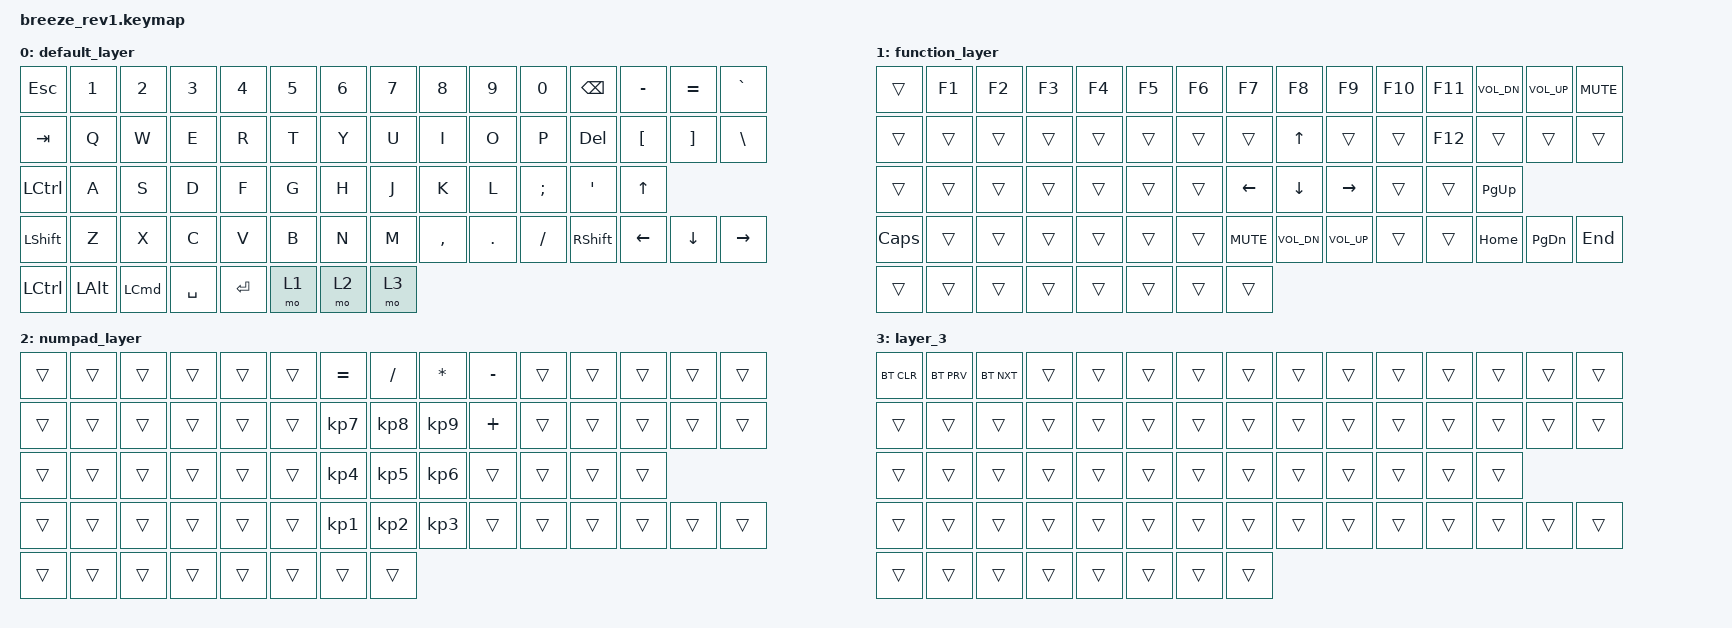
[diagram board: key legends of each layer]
/*
 * Copyright (c) 2022 The ZMK Contributors
 *
 * SPDX-License-Identifier: MIT
 */

#include <behaviors.dtsi>
#include <dt-bindings/zmk/bt.h>
#include <dt-bindings/zmk/keys.h>

/ {
    keymap {
        compatible = "zmk,keymap";

        default_layer {
            // Ref: https://zmkfirmware.dev/docs/codes/
            // ---  MAIN  -----------------------------------------------------------------------------------------------------------------------
            // |    ESC    |     1     |     2     |     3      |      4      |      5     |                           |      6      |      7     |      8      |      9     |     0    |    BSPC    | |    -/_    |     =/+     |    GRAVE    |
            // |    TAB    |     Q     |     W     |     E      |      R      |      T     |                           |      Y      |      U     |      I      |      O     |     P    |    DEL     | |     \     |      [      |      ]      |
            // |   LCTRL   |     A     |     S     |     D      |      F      |      G     |                           |      H      |      J     |      K      |      L     |     ;    |     '      | |           |      UP     |             |
            // |   SHIFT   |     Z     |     X     |     C      |      V      |      B     |                           |      N      |      M     |      ,      |      .     |     /    |   RSHIFT   | |     L     |      DN     |      R      |
            //                                     |   NUMPAD   |     LALT    |    LCMD    |   SPACE    |  |   ENTER   |   FUNCTION  |  MACOS APP |  MACOS LANG |

            bindings = <
&kp ESC    &kp N1    &kp N2    &kp N3     &kp N4   &kp N5  &kp N6  &kp N7  &kp N8     &kp N9   &kp N0    &kp BSPC    &kp MINUS  &kp EQUAL  &kp GRAVE
&kp TAB    &kp Q     &kp W     &kp E      &kp R    &kp T   &kp Y   &kp U   &kp I      &kp O    &kp P     &kp DEL     &kp LBKT   &kp RBKT   &kp BSLH
&kp LCTRL  &kp A     &kp S     &kp D      &kp F    &kp G   &kp H   &kp J   &kp K      &kp L    &kp SEMI  &kp APOS    &kp UP
&kp LSHFT  &kp Z     &kp X     &kp C      &kp V    &kp B   &kp N   &kp M   &kp COMMA  &kp DOT  &kp FSLH  &kp RSHIFT  &kp LEFT   &kp DOWN   &kp RIGHT
&kp LCTRL  &kp LALT  &kp LCMD  &kp SPACE  &kp RET  &mo 1   &mo 2   &mo 3
            >;
        };

        function_layer {
            // ---  FUNCTION  -------------------------------------------------------------------------------------------------------------------
            // | BT Clear  |  BT Prev  |  BT Next  |            |             |            |                           |             |            |             |            |          |            | |           |             |             |
            // |           |           |           |            |             |            |                           |             |            |     UP      |            |          |            | |           |             |             |
            // |           |           |           |            |             |            |                           |             |    LEFT    |    DOWN     |   RIGHT    |          |            | |           |             |             |
            // |           |           |           |            |             |            |                           |             |    MUTE    |  VOL DOWN   |   VOL UP   |          |            | |           |             |             |
            //                                     |            |             |            |            |  |           |             |            |             |

            bindings = <
&trans        &kp F1  &kp F2  &kp F3  &kp F4  &kp F5  &kp F6  &kp F7      &kp F8        &kp F9        &kp F10  &kp F11  &kp C_VOL_DN  &kp C_VOL_UP   &kp C_MUTE
&trans        &trans  &trans  &trans  &trans  &trans  &trans  &trans      &kp UP        &trans        &trans   &kp F12  &trans        &trans         &trans
&trans        &trans  &trans  &trans  &trans  &trans  &trans  &kp LEFT    &kp DOWN      &kp RIGHT     &trans   &trans   &kp PAGE_UP
&kp CAPSLOCK  &trans  &trans  &trans  &trans  &trans  &trans  &kp C_MUTE  &kp C_VOL_DN  &kp C_VOL_UP  &trans   &trans   &kp HOME      &kp PAGE_DOWN  &kp END
&trans        &trans  &trans  &trans  &trans  &trans  &trans  &trans
            >;
        };

        numpad_layer {
            // ---  NUMPAD  -------------------------------------------------------------------------------------------------------------------
            // |           |           |           |            |             |            |                           |       =       |      /       |      *       |      -     |          |            | |           |             |             |
            // |           |           |           |            |             |            |                           |       7       |      8       |      9       |      +     |          |            | |           |             |             |
            // |           |           |           |            |             |            |                           |       4       |      5       |      6       |            |          |            | |           |             |             |
            // |           |           |           |            |             |            |                           |       1       |      2       |      3       |            |          |            | |           |             |             |
            //                                     |            |             |            |            |  |           |       0       |      .       |              |

            bindings = <
&trans  &trans  &trans  &trans  &trans  &trans  &kp EQUAL        &kp SLASH        &kp STAR         &kp MINUS  &trans  &trans  &trans  &trans  &trans
&trans  &trans  &trans  &trans  &trans  &trans  &kp KP_NUMBER_7  &kp KP_NUMBER_8  &kp KP_NUMBER_9  &kp PLUS   &trans  &trans  &trans  &trans  &trans
&trans  &trans  &trans  &trans  &trans  &trans  &kp KP_NUMBER_4  &kp KP_NUMBER_5  &kp KP_NUMBER_6  &trans     &trans  &trans  &trans
&trans  &trans  &trans  &trans  &trans  &trans  &kp KP_NUMBER_1  &kp KP_NUMBER_2  &kp KP_NUMBER_3  &trans     &trans  &trans  &trans  &trans  &trans
&trans  &trans  &trans  &trans  &trans  &trans  &trans           &trans
            >;
        };

        layer_3 {
            bindings = <
&bt BT_CLR  &bt BT_PRV  &bt BT_NXT  &trans  &trans  &trans  &trans  &trans  &trans  &trans  &trans  &trans  &trans  &trans  &trans
&trans      &trans      &trans      &trans  &trans  &trans  &trans  &trans  &trans  &trans  &trans  &trans  &trans  &trans  &trans
&trans      &trans      &trans      &trans  &trans  &trans  &trans  &trans  &trans  &trans  &trans  &trans  &trans
&trans      &trans      &trans      &trans  &trans  &trans  &trans  &trans  &trans  &trans  &trans  &trans  &trans  &trans  &trans
&trans      &trans      &trans      &trans  &trans  &trans  &trans  &trans
            >;
        };
    };
};
